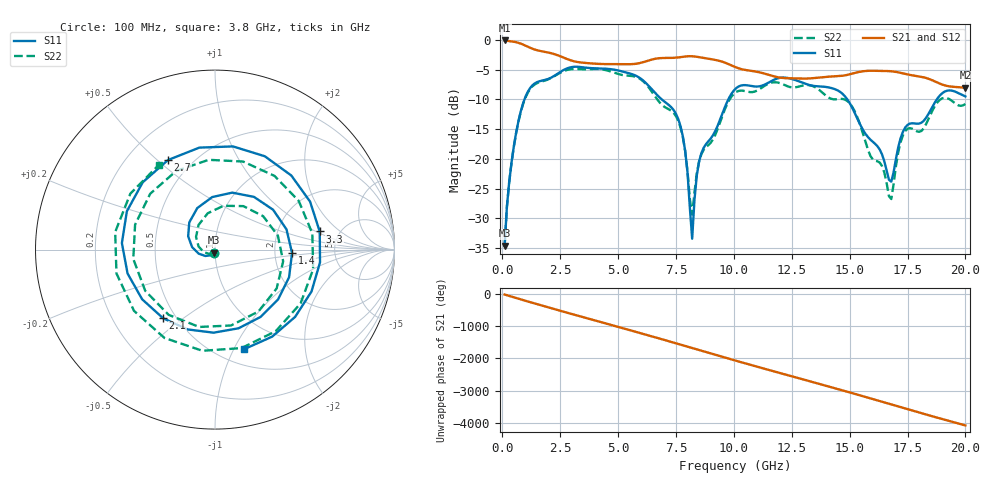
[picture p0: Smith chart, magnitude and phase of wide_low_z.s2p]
! Touchstone file exported from Ansys Full-Wave Spice
! Project: wide_low_z
!  Design: unknown
! Creation time: Tue Aug 11 13:45:32 2026
! Notes: Touchstone(R) file created by SIwave 2026 R1
!  : Touchstone(R) file created on Tue Aug 11 13:45:32 2026
!  : Design: Cell_P4ZK3V
!  : Path:
!  : *** SIwave SYZ Simulation Settings ***
!  : SI/PI Main
!  :  SI Simulation -  Balanced
!  : SI/PI Advanced
!  :  Coupling
!  :  Coplane: On
!  :  Intra-plane: Off
!  :  Split-plane: On
!  :  Cavity field: On
!  :  Trace: On
!  :  Cross-talk threshold: -34dB
!  :  Max. coupled lines: 12
!  :  Geometry Processing
!  :  Void area threshold: 2mm^2
!  :  Pad area threshold: 3.712mm^2
!  :  Planes area threshold: 3.364E-05mm^2
!  :  Vertex snap distance threshold: 0.0025mm
!  :  Mesh Refinement
!  :  Auto
!  :  AC/DC Merge
!  :  Default
!  :  Trace return current distribution: Off
!  :  Include voltage/current source parasitics: No
!  :  Add infinite ground plane: No
!  :  Exclude non-functional pads: Yes
!  : Temperature
!  :  Uniform distribution: 20cel
!  : Net Processing
!  :  Auto select nets
!  : S-parameter Modeling
!  :  State Space Model
!  : Sweep
!  :  Name: TDR_VALIDATION_wide_low_z
!  :  AC/DC Merge: Off
!  :  Discrete Sweep
!  :  Frequency Point Distribution:
!  :  Linear Step: 1E+08Hz -> 2E+10Hz 1E+08Hz step
!  :  Enforce Causality: Yes
!  :  Enforce Passivity: Yes
!  :  Q3D Regions: Off
!  :  HFSS Regions: Off
! Modal data exported
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# HZ S RI R 50
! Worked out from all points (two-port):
!   200 points, 100 MHz to 20 GHz, reference 50 ohm
!   highest |S21| = -0.12 dB at 100 MHz (marker M1); lowest = -8.1 dB at 20 GHz (marker M2)
!   |S21| within 3 dB of the highest: start of sweep to 2.723 GHz; 6.734 GHz to 8.792 GHz (2.058 GHz wide, 26.5 % of centre)
!   lowest |S11| = -34.6 dB at 100 MHz (marker M3), VSWR 1.04, Z = 49.4 - j1.75 ohm
!   |S11| at or under -10 dB: start of sweep to 961.3 MHz; 6.882 GHz to 9.766 GHz (2.884 GHz wide, 34.6 % of centre); 14.9 GHz to 18.77 GHz (3.874 GHz wide, 23 % of centre)
!   |S22| runs from -34.6 to -4.9 dB; largest |S21 - S12| = 0
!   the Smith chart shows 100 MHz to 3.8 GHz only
!   S11 on the Smith chart (normalised r, x): 100 MHz: 0.99, -0.04; 1.4 GHz: 2.50, -0.12; 2.1 GHz: 0.43, -0.42; 2.7 GHz: 0.37, +0.54; 3.3 GHz: 3.54, +1.10; 3.8 GHz: 0.66, -1.10
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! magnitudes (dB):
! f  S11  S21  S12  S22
! 100 MHz  -34.6  -0.1  -0.1  -34.6
! 300 MHz  -23.8  -0.2  -0.2  -23.9
! 600 MHz  -15.6  -0.4  -0.4  -15.6
! 1.4 GHz  -7.3  -1.6  -1.6  -7.5
! 2.1 GHz  -6.4  -2.3  -2.3  -6.4
! 2.7 GHz  -5.0  -3.1  -3.1  -5.2
! 3.3 GHz  -4.6  -3.8  -3.8  -4.9
! 3.5 GHz  -4.6  -3.9  -3.9  -5.0
! 3.8 GHz  -4.8  -4.0  -4.0  -4.9
! 6.8 GHz  -9.7  -3.1  -3.1  -10.5
! 7.7 GHz  -14.6  -2.9  -2.9  -14.8
! 8 GHz  -22.3  -2.8  -2.8  -22.1
! 8.2 GHz  -33.4  -2.8  -2.8  -29.3
! 8.4 GHz  -22.8  -2.9  -2.9  -22.4
! 8.6 GHz  -19.0  -3.0  -3.0  -19.2
! 10.1 GHz  -8.1  -4.6  -4.6  -8.8
! 13.4 GHz  -7.7  -6.5  -6.5  -7.8
! 15.1 GHz  -11.3  -5.7  -5.7  -11.2
! 16.7 GHz  -23.5  -5.3  -5.3  -26.3
! 17.4 GHz  -14.7  -5.7  -5.7  -15.3
! 19 GHz  -9.0  -7.5  -7.5  -9.8
! 20 GHz  -9.5  -8.1  -8.1  -10.8
